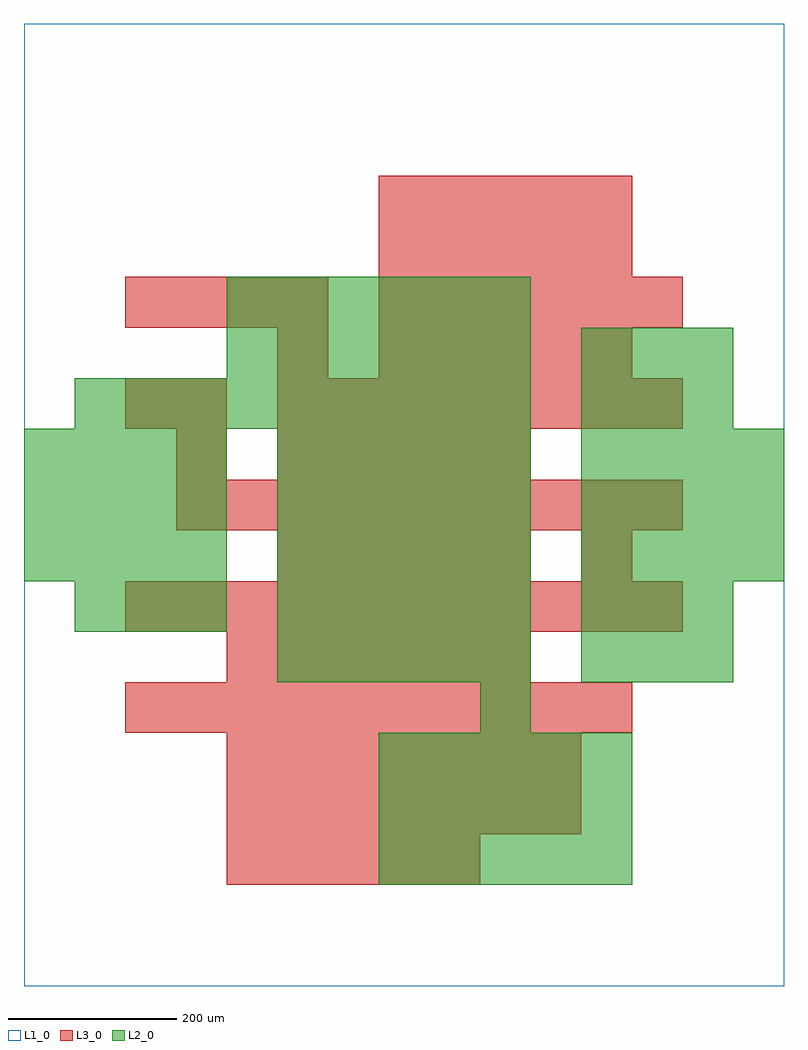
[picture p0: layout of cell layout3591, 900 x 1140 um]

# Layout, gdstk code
import gdstk
lib = gdstk.Library(unit=1e-6, precision=1e-09)
def R(c, l, rs):  # rectangles x0, y0, x1, y1
    for r in rs: c.add(gdstk.rectangle(r[:2], r[2:], *l))
def A(c, l, x, y, w, h, nx, ny, dx, dy):  # array of equal rectangles
    R(c, l, [(x+i*dx, y+j*dy, x+i*dx+w, y+j*dy+h) for i in range(nx) for j in range(ny)])
L1_0 = (1, 0)
L2_0 = (2, 0)
L3_0 = (3, 0)

layout3591 = lib.new_cell('layout3591')
R(layout3591, L1_0, [(0,0,900,1140)])
A(layout3591, L2_0, 420, 120, 60, 60, 5, 3, 60, 60)
A(layout3591, L2_0, 300, 360, 60, 60, 5, 5, 60, 60)
A(layout3591, L2_0, 660, 360, 60, 60, 3, 2, 60, 60)
A(layout3591, L2_0, 60, 420, 60, 60, 3, 1, 60, 0)
A(layout3591, L2_0, 0, 480, 60, 60, 4, 3, 60, 60)
A(layout3591, L2_0, 660, 480, 60, 60, 4, 3, 60, 60)
A(layout3591, L2_0, 60, 660, 60, 60, 9, 1, 60, 0)
A(layout3591, L2_0, 660, 660, 60, 60, 3, 2, 60, 60)
A(layout3591, L2_0, 240, 720, 60, 60, 6, 2, 60, 60)
R(layout3591, L2_0, [(540,300,600,360)])
A(layout3591, L3_0, 240, 120, 60, 60, 5, 1, 60, 0)
A(layout3591, L3_0, 240, 180, 60, 60, 7, 2, 60, 60)
A(layout3591, L3_0, 120, 300, 60, 60, 10, 1, 60, 0)
A(layout3591, L3_0, 240, 360, 60, 60, 6, 1, 60, 0)
A(layout3591, L3_0, 120, 420, 60, 60, 11, 1, 60, 0)
A(layout3591, L3_0, 300, 480, 60, 60, 5, 2, 60, 120)
A(layout3591, L3_0, 180, 540, 60, 60, 10, 1, 60, 0)
A(layout3591, L3_0, 300, 660, 60, 60, 8, 1, 60, 0)
A(layout3591, L3_0, 420, 720, 60, 60, 5, 2, 60, 120)
A(layout3591, L3_0, 120, 780, 60, 60, 4, 1, 60, 0)
A(layout3591, L3_0, 420, 780, 60, 60, 6, 1, 60, 0)
A(layout3591, L3_0, 420, 900, 60, 60, 5, 1, 60, 0)
R(layout3591, L3_0, [(660,480,720,540), (180,600,240,660), (120,660,180,720), (180,660,240,720), (300,720,360,780)])

lib.write_gds('layout3591.gds')
